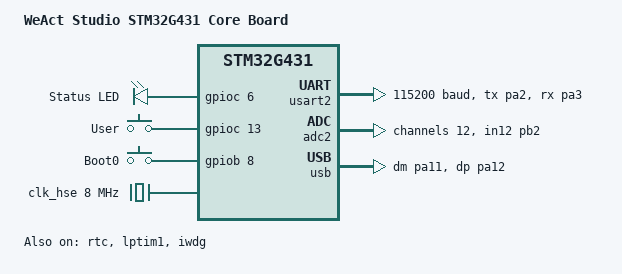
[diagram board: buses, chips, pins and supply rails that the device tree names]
/*
 * Copyright (c) 2023 Andreas Sandberg
 *
 * SPDX-License-Identifier: Apache-2.0
 */

/dts-v1/;
#include <st/g4/stm32g431Xb.dtsi>
#include <st/g4/stm32g431c(6-8-b)ux-pinctrl.dtsi>
#include <zephyr/dt-bindings/usb-c/pd.h>
#include <zephyr/dt-bindings/input/input-event-codes.h>

/ {
	model = "WeAct Studio STM32G431 Core Board";
	compatible = "weact,stm32g431-core";

	chosen {
		zephyr,console = &usart2;
		zephyr,shell-uart = &usart2;
		zephyr,sram = &sram0;
		zephyr,flash = &flash0;
	};

	aliases {
		led0 = &led_0;
		mcuboot-button0 = &button_0;
		mcuboot-led0 = &led_0;
		sw0 = &button_0;
		sw1 = &button_1;
		usbc-port0 = &usbc1;
		watchdog0 = &iwdg;
	};

	leds {
		compatible = "gpio-leds";
		led_0: led0 {
			gpios = <&gpioc 6 GPIO_ACTIVE_HIGH>;
			label = "Status LED";
		};
	};

	gpio_keys {
		compatible = "gpio-keys";
		button_0: button0 {
			label = "User";
			gpios = <&gpioc 13 (GPIO_PULL_DOWN | GPIO_ACTIVE_HIGH)>;
			zephyr,code = <INPUT_KEY_0>;
		};
		button_1: button1 {
			label = "Boot0";
			gpios = <&gpiob 8 GPIO_ACTIVE_HIGH>;
			zephyr,code = <INPUT_KEY_1>;
		};
	};

	vbus1: vbus {
		compatible = "zephyr,usb-c-vbus-adc";
		status = "disabled";
		io-channels = <&adc2 12>;
		output-ohms = <10000>;
		full-ohms = <(100000 + 10000)>;
	};

	ports {
		#address-cells = <1>;
		#size-cells = <0>;

		usbc1: usbc-port@1 {
			compatible = "usb-c-connector";
			status = "disabled";
			reg = <1>;
			tcpc = <&ucpd1>;
			vbus = <&vbus1>;
			data-role = "device";
			power-role = "sink";
			sink-pdos = <PDO_FIXED(5000, 100, PDO_FIXED_USB_COMM)>;
		};
	};
};

&clk_lsi {
	status = "okay";
};

&clk_lse {
	status = "okay";
};

&clk_hsi {
	status = "disabled";
};

&clk_hse {
	status = "okay";
	clock-frequency = <DT_FREQ_M(8)>;
};

&rcc {
	clocks = <&pll>;
	clock-frequency = <DT_FREQ_M(144)>;
	ahb-prescaler = <1>;
	apb1-prescaler = <1>;
	apb2-prescaler = <1>;
};

&pll {
	status = "okay";
	div-m = <2>;
	mul-n = <72>;
	div-p = <2>;
	div-q = <6>;
	div-r = <2>;
	clocks = <&clk_hse>;
};

&rtc {
	status = "okay";
	clocks = <&rcc STM32_CLOCK(APB1, 10)>,
		 <&rcc STM32_SRC_LSE RTC_SEL(1)>;
};

stm32_lp_tick_source: &lptim1 {
	status = "okay";
	clocks = <&rcc STM32_CLOCK(APB1, 31)>,
		 <&rcc STM32_SRC_LSE LPTIM1_SEL(3)>;
};

&flash0 {
	partitions {
		compatible = "fixed-partitions";
		#address-cells = <1>;
		#size-cells = <1>;

		/* 4KiB of storage at the end of the 128KiB FLASH */
		storage_partition: partition@1f000 {
			label = "storage";
			reg = <0x0001f000 DT_SIZE_K(4)>;
		};
	};
};

&iwdg {
	status = "okay";
};

&usart2 {
	status = "okay";
	pinctrl-0 = <&usart2_tx_pa2 &usart2_rx_pa3>;
	pinctrl-names = "default";

	current-speed = <115200>;
};

&adc2 {
	pinctrl-0 = <&adc2_in12_pb2>;
	pinctrl-names = "default";
	st,adc-clock-source = "SYNC";
	st,adc-prescaler = <4>;

	#address-cells = <1>;
	#size-cells = <0>;

	channel@c {
		reg = <12>;
		zephyr,gain = "ADC_GAIN_1";
		zephyr,reference = "ADC_REF_INTERNAL";
		zephyr,acquisition-time = <ADC_ACQ_TIME_DEFAULT>;
		zephyr,resolution = <12>;
		zephyr,vref-mv = <3300>;
	};
};

&ucpd1 {
	psc-ucpdclk = <1>;
	hbitclkdiv = <27>;
	pinctrl-0 = <&ucpd1_cc1_pb6 &ucpd1_cc2_pb4>;
	pinctrl-names = "default";
};

zephyr_udc0: &usb {
	pinctrl-0 = <&usb_dm_pa11 &usb_dp_pa12>;
	pinctrl-names = "default";
	clocks = <&rcc STM32_CLOCK(APB1, 23)>,
		 <&rcc STM32_SRC_PLL_Q CLK48_SEL(2)>;
	status = "okay";
};
